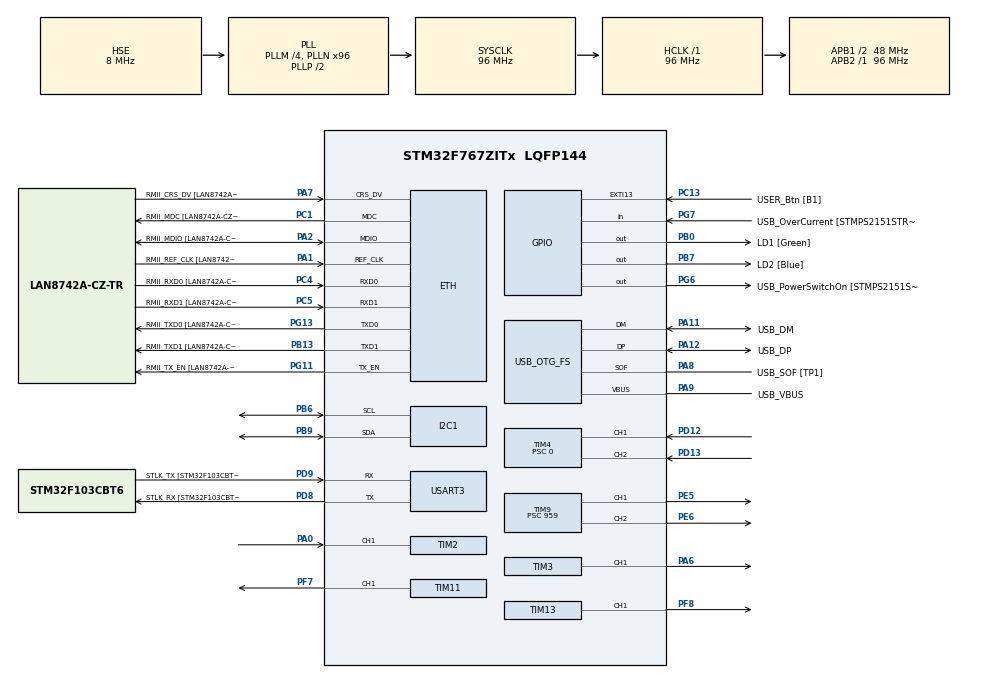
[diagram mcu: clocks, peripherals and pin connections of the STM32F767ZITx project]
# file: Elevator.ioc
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ARM.CMSIS.5.7.0.CMSISJjCORE=true
ARM.CMSIS.5.7.0.CMSISJjDSP=Library
Dma.Request0=USART3_TX
Dma.USART3_TX.0.Direction=DMA_MEMORY_TO_PERIPH
Dma.USART3_TX.0.FIFOMode=DMA_FIFOMODE_DISABLE
Dma.USART3_TX.0.Instance=DMA1_Stream3
Dma.USART3_TX.0.MemDataAlignment=DMA_MDATAALIGN_BYTE
Dma.USART3_TX.0.MemInc=DMA_MINC_ENABLE
Dma.USART3_TX.0.Mode=DMA_NORMAL
Dma.USART3_TX.0.PeriphDataAlignment=DMA_PDATAALIGN_BYTE
Dma.USART3_TX.0.PeriphInc=DMA_PINC_DISABLE
Dma.USART3_TX.0.Priority=DMA_PRIORITY_LOW
ETH.MediaInterface=HAL_ETH_RMII_MODE
ETH.PHY_Name=LAN8742A_PHY_ADDRESS
ETH.PHY_Value=0
ETH.PhyAddress=0
FREERTOS.Tasks01=ControlTask,40,512,StartControlTask,Default,NULL,Dynamic,NULL,NULL;DisplayTask,24,512,StartDisplayTask,Default,NULL,Dynamic,NULL,NULL;UARTTask,8,512,StartUARTTask,Default,NULL,Dynamic,NULL,NULL
FREERTOS.configCHECK_FOR_STACK_OVERFLOW=2
FREERTOS.configTOTAL_HEAP_SIZE=32768
I2C1.Timing=0x20303E5D
Mcu.Family=STM32F7
Mcu.Name=STM32F767ZITx
Mcu.Package=LQFP144
NVIC.DMA1_Stream3_IRQn=true\:5\:0\:false\:false\:true\:true\:false\:true\:true
NVIC.PriorityGroup=NVIC_PRIORITYGROUP_4
NVIC.TIM2_IRQn=true\:5\:0\:false\:false\:true\:true\:true\:true\:true
NVIC.TIM3_IRQn=true\:5\:0\:false\:false\:true\:true\:true\:true\:true
NVIC.TIM6_DAC_IRQn=true\:15\:0\:false\:false\:true\:false\:false\:true\:true
NVIC.TimeBase=TIM6_DAC_IRQn
NVIC.TimeBaseIP=TIM6
NVIC.USART3_IRQn=true\:5\:0\:false\:false\:true\:true\:true\:true\:true
PA0/WKUP.Signal=S_TIM2_CH1_ETR
PA1.GPIO_Label=RMII_REF_CLK [LAN8742A-CZ-TR_REFCLK0]
PA1.Mode=RMII
PA1.Signal=ETH_REF_CLK
PA10.GPIO_Label=USB_ID
PA10.Signal=USB_OTG_FS_ID
PA11.GPIO_Label=USB_DM
PA11.Mode=Device_Only
PA11.Signal=USB_OTG_FS_DM
PA12.GPIO_Label=USB_DP
PA12.Mode=Device_Only
PA12.Signal=USB_OTG_FS_DP
PA13.GPIO_Label=TMS
PA13.Mode=Serial_Wire
PA13.Signal=SYS_JTMS-SWDIO
PA14.GPIO_Label=TCK
PA14.Mode=Serial_Wire
PA14.Signal=SYS_JTCK-SWCLK
PA2.GPIO_Label=RMII_MDIO [LAN8742A-CZ-TR_MDIO]
PA2.Mode=RMII
PA2.Signal=ETH_MDIO
PA6.Signal=S_TIM3_CH1
PA7.GPIO_Label=RMII_CRS_DV [LAN8742A-CZ-TR_CRS_DV]
PA7.Mode=RMII
PA7.Signal=ETH_CRS_DV
PA8.GPIO_Label=USB_SOF [TP1]
PA8.Mode=Activate_SOF_FS
PA8.Signal=USB_OTG_FS_SOF
PA9.GPIO_Label=USB_VBUS
PA9.Mode=Activate_VBUS
PA9.Signal=USB_OTG_FS_VBUS
PB0.GPIO_Label=LD1 [Green]
PB0.Signal=GPIO_Output
PB13.GPIO_Label=RMII_TXD1 [LAN8742A-CZ-TR_TXD1]
PB13.Mode=RMII
PB13.Signal=ETH_TXD1
PB3.GPIO_Label=SWO
PB3.Signal=SYS_JTDO-SWO
PB6.Mode=I2C
PB6.Signal=I2C1_SCL
PB7.GPIO_Label=LD2 [Blue]
PB7.Signal=GPIO_Output
PB9.Mode=I2C
PB9.Signal=I2C1_SDA
PC1.GPIO_Label=RMII_MDC [LAN8742A-CZ-TR_MDC]
PC1.Mode=RMII
PC1.Signal=ETH_MDC
PC13.GPIO_Label=USER_Btn [B1]
PC13.Signal=GPXTI13
PC14/OSC32_IN.Mode=LSE-External-Oscillator
PC14/OSC32_IN.Signal=RCC_OSC32_IN
PC15/OSC32_OUT.Mode=LSE-External-Oscillator
PC15/OSC32_OUT.Signal=RCC_OSC32_OUT
PC4.GPIO_Label=RMII_RXD0 [LAN8742A-CZ-TR_RXD0]
PC4.Mode=RMII
PC4.Signal=ETH_RXD0
PC5.GPIO_Label=RMII_RXD1 [LAN8742A-CZ-TR_RXD1]
PC5.Mode=RMII
PC5.Signal=ETH_RXD1
PD12.GPIO_PuPd=GPIO_PULLUP
PD12.Signal=S_TIM4_CH1
PD13.GPIO_PuPd=GPIO_PULLUP
PD13.Signal=S_TIM4_CH2
PD8.GPIO_Label=STLK_RX [STM32F103CBT6_PA3]
PD8.Mode=Asynchronous
PD8.Signal=USART3_TX
PD9.GPIO_Label=STLK_TX [STM32F103CBT6_PA2]
PD9.Mode=Asynchronous
PD9.Signal=USART3_RX
PE5.Signal=S_TIM9_CH1
PE6.Signal=S_TIM9_CH2
PF7.Signal=S_TIM11_CH1
PF8.Signal=S_TIM13_CH1
PG11.GPIO_Label=RMII_TX_EN [LAN8742A-CZ-TR_TXEN]
PG11.Mode=RMII
PG11.Signal=ETH_TX_EN
PG13.GPIO_Label=RMII_TXD0 [LAN8742A-CZ-TR_TXD0]
PG13.Mode=RMII
PG13.Signal=ETH_TXD0
PG6.GPIO_Label=USB_PowerSwitchOn [STMPS2151STR_EN]
PG6.Signal=GPIO_Output
PG7.GPIO_Label=USB_OverCurrent [STMPS2151STR_FAULT]
PG7.Signal=GPIO_Input
PH0/OSC_IN.GPIO_Label=MCO [STM32F103CBT6_PA8]
PH0/OSC_IN.Mode=HSE-External-Clock-Source
PH0/OSC_IN.Signal=RCC_OSC_IN
PH1/OSC_OUT.Mode=HSE-External-Clock-Source
PH1/OSC_OUT.Signal=RCC_OSC_OUT
ProjectManager.HeapSize=0x200
ProjectManager.StackSize=0x400
ProjectManager.TargetToolchain=STM32CubeIDE
RCC.48MHZClocksFreq_Value=24000000
RCC.AHBFreq_Value=96000000
RCC.APB1CLKDivider=RCC_HCLK_DIV2
RCC.APB1Freq_Value=48000000
RCC.APB1TimFreq_Value=96000000
RCC.APB2Freq_Value=96000000
RCC.APB2TimFreq_Value=96000000
RCC.CortexFreq_Value=96000000
RCC.HCLKFreq_Value=96000000
RCC.HSE_VALUE=8000000
RCC.HSI_VALUE=16000000
RCC.PLLM=4
RCC.PLLMUL=RCC_PLL_MUL9
RCC.PLLN=96
RCC.PLLQ=4
RCC.PRESCALERUSB=RCC_USBCLKSOURCE_PLL_DIV1_5
RCC.SYSCLKFreq_VALUE=96000000
RCC.SYSCLKSource=RCC_SYSCLKSOURCE_PLLCLK
RCC.SYSCLKSourceVirtual=RCC_SYSCLKSOURCE_PLLCLK
RCC.USBFreq_Value=48000000
RCC.VCOOutputFreq_Value=192000000
SH.S_TIM11_CH1.0=TIM11_CH1,PWM Generation1 CH1
SH.S_TIM13_CH1.0=TIM13_CH1,PWM Generation1 CH1
SH.S_TIM2_CH1_ETR.0=TIM2_CH1,PWM_Input_1
SH.S_TIM3_CH1.0=TIM3_CH1,PWM Generation1 CH1
SH.S_TIM4_CH1.0=TIM4_CH1,Encoder_Interface
SH.S_TIM4_CH2.0=TIM4_CH2,Encoder_Interface
SH.S_TIM9_CH1.0=TIM9_CH1,PWM Generation1 CH1
SH.S_TIM9_CH2.0=TIM9_CH2,PWM Generation2 CH2
TIM11.Channel=TIM_CHANNEL_1
TIM11.Period=999
TIM11.Prescaler=959
TIM13.Channel=TIM_CHANNEL_1
TIM13.Period=999
TIM13.Prescaler=959
TIM2.Prescaler=95
TIM3.Channel-PWM\ Generation1\ CH1=TIM_CHANNEL_1
TIM3.Period=249
TIM3.Prescaler=9599
TIM3.Pulse-PWM\ Generation1\ CH1=10
TIM4.EncoderMode=TIM_ENCODERMODE_TI12
TIM4.IC1Filter=15
TIM4.IC2Filter=15
TIM4.Period=65535
TIM4.Prescaler=0
TIM9.Channel-PWM\ Generation1\ CH1=TIM_CHANNEL_1
TIM9.Channel-PWM\ Generation2\ CH2=TIM_CHANNEL_2
TIM9.Period=999
TIM9.Prescaler=959
USART3.VirtualMode-Asynchronous=VM_ASYNC
USB_OTG_FS.VirtualMode=Device_Only
VP_ARM.CMSIS_VS_CMSISJjCORE_5.4.0_5.7.0.Mode=CMSISJjCORE
VP_ARM.CMSIS_VS_CMSISJjDSP_1.8.0_5.7.0.Mode=CMSISJjDSP
VP_FREERTOS_VS_CMSIS_V2.Mode=CMSIS_V2
VP_SYS_VS_tim6.Mode=TIM6
VP_TIM11_VS_ClockSourceINT.Mode=Enable_Timer
VP_TIM13_VS_ClockSourceINT.Mode=Enable_Timer
VP_TIM2_VS_ClockSourceINT.Mode=Internal
VP_TIM3_VS_ClockSourceINT.Mode=Internal
board=NUCLEO-F767ZI

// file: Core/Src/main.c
/* USER CODE BEGIN Header */
/**
  ******************************************************************************
  * @file           : main.c
  * @brief          : Main program body
  ******************************************************************************
  * @attention
  *
  * Copyright (c) 2026 STMicroelectronics.
  * All rights reserved.
  *
  * This software is licensed under terms that can be found in the LICENSE file
  * in the root directory of this software component.
  * If no LICENSE file comes with this software, it is provided AS-IS.
  *
  ******************************************************************************
  */
/* USER CODE END Header */
#include "main.h"
#include "string.h"
#include "cmsis_os.h"

/* USER CODE BEGIN Includes */
#include <stdio.h>
#include <string.h>
#include <stdbool.h>

#include "arm_math.h"

#include "crc.h"
#include "filtr.h"
#include "regulator.h"
#include "lcd_i2c.h"
#include "encoder.h"
#include "hcsr04.h"
#include "wlasny_PID.h"
/* USER CODE END Includes */

/* USER CODE BEGIN PTD */
typedef struct {
    float dist_filtered;  // Zmienna z 'filtr'
    float dist_raw;       // Zmienna z 'sensor'
    int target_h;         // Zmienna z 'encoder'
    int pwm_up;           // Zmienna z 'liftPID'
    int pwm_down;         // Zmienna z 'liftPID'
} ElevatorData_t;
/* USER CODE END PTD */

#if defined ( __ICCARM__ ) /*!< IAR Compiler */
#pragma location=0x2007c000
ETH_DMADescTypeDef  DMARxDscrTab[ETH_RX_DESC_CNT]; /* Ethernet Rx DMA Descriptors */
#pragma location=0x2007c0a0
ETH_DMADescTypeDef  DMATxDscrTab[ETH_TX_DESC_CNT]; /* Ethernet Tx DMA Descriptors */

#elif defined ( __CC_ARM )  /* MDK ARM Compiler */

__attribute__((at(0x2007c000))) ETH_DMADescTypeDef  DMARxDscrTab[ETH_RX_DESC_CNT]; /* Ethernet Rx DMA Descriptors */
__attribute__((at(0x2007c0a0))) ETH_DMADescTypeDef  DMATxDscrTab[ETH_TX_DESC_CNT]; /* Ethernet Tx DMA Descriptors */

#elif defined ( __GNUC__ ) /* GNU Compiler */

ETH_DMADescTypeDef DMARxDscrTab[ETH_RX_DESC_CNT] __attribute__((section(".RxDecripSection"))); /* Ethernet Rx DMA Descriptors */
ETH_DMADescTypeDef DMATxDscrTab[ETH_TX_DESC_CNT] __attribute__((section(".TxDecripSection")));   /* Ethernet Tx DMA Descriptors */
#endif

ETH_TxPacketConfig TxConfig;

ETH_HandleTypeDef heth;

I2C_HandleTypeDef hi2c1;

TIM_HandleTypeDef htim2;
TIM_HandleTypeDef htim3;
TIM_HandleTypeDef htim4;
TIM_HandleTypeDef htim9;
TIM_HandleTypeDef htim11;
TIM_HandleTypeDef htim13;

UART_HandleTypeDef huart3;
DMA_HandleTypeDef hdma_usart3_tx;

PCD_HandleTypeDef hpcd_USB_OTG_FS;

/* Definitions for ControlTask */
osThreadId_t ControlTaskHandle;
const osThreadAttr_t ControlTask_attributes = {
  .name = "ControlTask",
  .stack_size = 512 * 4,
  .priority = (osPriority_t) osPriorityHigh,
};
/* Definitions for DisplayTask */
osThreadId_t DisplayTaskHandle;
const osThreadAttr_t DisplayTask_attributes = {
  .name = "DisplayTask",
  .stack_size = 512 * 4,
  .priority = (osPriority_t) osPriorityNormal,
};
/* Definitions for UARTTask */
osThreadId_t UARTTaskHandle;
const osThreadAttr_t UARTTask_attributes = {
  .name = "UARTTask",
  .stack_size = 512 * 4,
  .priority = (osPriority_t) osPriorityLow,
};
/* USER CODE BEGIN PV */
HCSR04_t sensor;
Encoder_t encoder;
DistanceFilter_t filtr;
PID_Controller liftPID;
LCD_t lcd;

float32_t current_pwm = 0.0f;
extern I2C_HandleTypeDef hi2c1;

osSemaphoreId_t UartTxSemaphoreHandle;
osMessageQueueId_t elevatorQueueHandle;

/* USER CODE END PV */

void SystemClock_Config(void);
static void MX_GPIO_Init(void);
static void MX_DMA_Init(void);
static void MX_ETH_Init(void);
static void MX_USART3_UART_Init(void);
static void MX_USB_OTG_FS_PCD_Init(void);
static void MX_TIM2_Init(void);
static void MX_TIM3_Init(void);
static void MX_TIM4_Init(void);
static void MX_TIM9_Init(void);
static void MX_I2C1_Init(void);
static void MX_TIM11_Init(void);
static void MX_TIM13_Init(void);
void StartControlTask(void *argument);
void StartDisplayTask(void *argument);
void StartUARTTask(void *argument);

/* USER CODE BEGIN 0 */
void HAL_TIM_IC_CaptureCallback(TIM_HandleTypeDef *htim) {
    HCSR04_ProcessISR(&sensor, htim);
}

void HAL_UART_RxCpltCallback(UART_HandleTypeDef *huart)
{
    CMD_RxCpltCallback(huart);
}
/* USER CODE END 0 */

int main(void)
{

  /* MCU Configuration--------------------------------------------------------*/

  /* Reset of all peripherals, Initializes the Flash interface and the Systick. */
  HAL_Init();

  /* Configure the system clock */
  SystemClock_Config();

  /* Initialize all configured peripherals */
  MX_GPIO_Init();
  MX_DMA_Init();
  MX_ETH_Init();
  MX_USART3_UART_Init();
  MX_USB_OTG_FS_PCD_Init();
  MX_TIM2_Init();
  MX_TIM3_Init();
  MX_TIM4_Init();
  MX_TIM9_Init();
  MX_I2C1_Init();
  MX_TIM11_Init();
  MX_TIM13_Init();
  /* USER CODE BEGIN 2 */
  CMD_Init(&huart3);

  HCSR04_Init(&sensor, &htim2, &htim3);
  int timeout = 0;
  while (sensor.distance <= 0.1f && timeout < 20) {
      HAL_Delay(50);
      timeout++;
  }
  int32_t start_pos = (int32_t)sensor.distance;
  if (start_pos < 5) start_pos = 5;

  Encoder_Init(&encoder, &htim4, 5, 40, start_pos);

  LCD_Init(&lcd, &hi2c1, 16, 2);
  DistanceFilter_Init(&filtr);
  Lift_PID_Init(&liftPID);

  HAL_TIM_Base_Start_IT(&htim3);
  HAL_TIM_PWM_Start(&htim11, TIM_CHANNEL_1);
  HAL_TIM_PWM_Start(&htim13, TIM_CHANNEL_1);

  /* USER CODE END 2 */

  /* Init scheduler */
  osKernelInitialize();

  /* USER CODE BEGIN RTOS_SEMAPHORES */
  UartTxSemaphoreHandle = osSemaphoreNew(1, 0, NULL);

  /* USER CODE END RTOS_SEMAPHORES */

  /* USER CODE BEGIN RTOS_QUEUES */
  elevatorQueueHandle = osMessageQueueNew(10, sizeof(ElevatorData_t), NULL);
  /* USER CODE END RTOS_QUEUES */

  /* Create the thread(s) */
  /* creation of ControlTask */
  ControlTaskHandle = osThreadNew(StartControlTask, NULL, &ControlTask_attributes);

  /* creation of DisplayTask */
  DisplayTaskHandle = osThreadNew(StartDisplayTask, NULL, &DisplayTask_attributes);

  /* creation of UARTTask */
  UARTTaskHandle = osThreadNew(StartUARTTask, NULL, &UARTTask_attributes);

  /* Start scheduler */
  osKernelStart();

  /* We should never get here as control is now taken by the scheduler */

  /* Infinite loop */
  while (1)
  {

  }
}

void SystemClock_Config(void)
{
  RCC_OscInitTypeDef RCC_OscInitStruct = {0};
  RCC_ClkInitTypeDef RCC_ClkInitStruct = {0};

  /** Configure LSE Drive Capability
  */
  HAL_PWR_EnableBkUpAccess();

  /** Configure the main internal regulator output voltage
  */
  __HAL_RCC_PWR_CLK_ENABLE();
  __HAL_PWR_VOLTAGESCALING_CONFIG(PWR_REGULATOR_VOLTAGE_SCALE3);

  /** Initializes the RCC Oscillators according to the specified parameters
  * in the RCC_OscInitTypeDef structure.
  */
  RCC_OscInitStruct.OscillatorType = RCC_OSCILLATORTYPE_HSE;
  RCC_OscInitStruct.HSEState = RCC_HSE_BYPASS;
  RCC_OscInitStruct.PLL.PLLState = RCC_PLL_ON;
  RCC_OscInitStruct.PLL.PLLSource = RCC_PLLSOURCE_HSE;
  RCC_OscInitStruct.PLL.PLLM = 4;
  RCC_OscInitStruct.PLL.PLLN = 96;
  RCC_OscInitStruct.PLL.PLLP = RCC_PLLP_DIV2;
  RCC_OscInitStruct.PLL.PLLQ = 4;
  RCC_OscInitStruct.PLL.PLLR = 2;
  if (HAL_RCC_OscConfig(&RCC_OscInitStruct) != HAL_OK)
  {
    Error_Handler();
  }

  /** Activate the Over-Drive mode
  */
  if (HAL_PWREx_EnableOverDrive() != HAL_OK)
  {
    Error_Handler();
  }

  /** Initializes the CPU, AHB and APB buses clocks
  */
  RCC_ClkInitStruct.ClockType = RCC_CLOCKTYPE_HCLK|RCC_CLOCKTYPE_SYSCLK
                              |RCC_CLOCKTYPE_PCLK1|RCC_CLOCKTYPE_PCLK2;
  RCC_ClkInitStruct.SYSCLKSource = RCC_SYSCLKSOURCE_PLLCLK;
  RCC_ClkInitStruct.AHBCLKDivider = RCC_SYSCLK_DIV1;
  RCC_ClkInitStruct.APB1CLKDivider = RCC_HCLK_DIV2;
  RCC_ClkInitStruct.APB2CLKDivider = RCC_HCLK_DIV1;

  if (HAL_RCC_ClockConfig(&RCC_ClkInitStruct, FLASH_LATENCY_3) != HAL_OK)
  {
    Error_Handler();
  }
}

static void MX_ETH_Init(void)
{

   static uint8_t MACAddr[6];

  heth.Instance = ETH;
  MACAddr[0] = 0x00;
  MACAddr[1] = 0x80;
  MACAddr[2] = 0xE1;
  MACAddr[3] = 0x00;
  MACAddr[4] = 0x00;
  MACAddr[5] = 0x00;
  heth.Init.MACAddr = &MACAddr[0];
  heth.Init.MediaInterface = HAL_ETH_RMII_MODE;
  heth.Init.TxDesc = DMATxDscrTab;
  heth.Init.RxDesc = DMARxDscrTab;
  heth.Init.RxBuffLen = 1524;

  if (HAL_ETH_Init(&heth) != HAL_OK)
  {
    Error_Handler();
  }

  memset(&TxConfig, 0 , sizeof(ETH_TxPacketConfig));
  TxConfig.Attributes = ETH_TX_PACKETS_FEATURES_CSUM | ETH_TX_PACKETS_FEATURES_CRCPAD;
  TxConfig.ChecksumCtrl = ETH_CHECKSUM_IPHDR_PAYLOAD_INSERT_PHDR_CALC;
  TxConfig.CRCPadCtrl = ETH_CRC_PAD_INSERT;

}

static void MX_I2C1_Init(void)
{

  hi2c1.Instance = I2C1;
  hi2c1.Init.Timing = 0x20303E5D;
  hi2c1.Init.OwnAddress1 = 0;
  hi2c1.Init.AddressingMode = I2C_ADDRESSINGMODE_7BIT;
  hi2c1.Init.DualAddressMode = I2C_DUALADDRESS_DISABLE;
  hi2c1.Init.OwnAddress2 = 0;
  hi2c1.Init.OwnAddress2Masks = I2C_OA2_NOMASK;
  hi2c1.Init.GeneralCallMode = I2C_GENERALCALL_DISABLE;
  hi2c1.Init.NoStretchMode = I2C_NOSTRETCH_DISABLE;
  if (HAL_I2C_Init(&hi2c1) != HAL_OK)
  {
    Error_Handler();
  }

  /** Configure Analogue filter
  */
  if (HAL_I2CEx_ConfigAnalogFilter(&hi2c1, I2C_ANALOGFILTER_ENABLE) != HAL_OK)
  {
    Error_Handler();
  }

  /** Configure Digital filter
  */
  if (HAL_I2CEx_ConfigDigitalFilter(&hi2c1, 0) != HAL_OK)
  {
    Error_Handler();
  }

}

static void MX_TIM2_Init(void)
{

  TIM_ClockConfigTypeDef sClockSourceConfig = {0};
  TIM_SlaveConfigTypeDef sSlaveConfig = {0};
  TIM_IC_InitTypeDef sConfigIC = {0};
  TIM_MasterConfigTypeDef sMasterConfig = {0};

  htim2.Instance = TIM2;
  htim2.Init.Prescaler = 95;
  htim2.Init.CounterMode = TIM_COUNTERMODE_UP;
  htim2.Init.Period = 4294967295;
  htim2.Init.ClockDivision = TIM_CLOCKDIVISION_DIV1;
  htim2.Init.AutoReloadPreload = TIM_AUTORELOAD_PRELOAD_DISABLE;
  if (HAL_TIM_Base_Init(&htim2) != HAL_OK)
  {
    Error_Handler();
  }
  sClockSourceConfig.ClockSource = TIM_CLOCKSOURCE_INTERNAL;
  if (HAL_TIM_ConfigClockSource(&htim2, &sClockSourceConfig) != HAL_OK)
  {
    Error_Handler();
  }
  if (HAL_TIM_IC_Init(&htim2) != HAL_OK)
  {
    Error_Handler();
  }
  sSlaveConfig.SlaveMode = TIM_SLAVEMODE_RESET;
  sSlaveConfig.InputTrigger = TIM_TS_TI1FP1;
  sSlaveConfig.TriggerPolarity = TIM_INPUTCHANNELPOLARITY_RISING;
  sSlaveConfig.TriggerPrescaler = TIM_ICPSC_DIV1;
  sSlaveConfig.TriggerFilter = 0;
  if (HAL_TIM_SlaveConfigSynchro(&htim2, &sSlaveConfig) != HAL_OK)
  {
    Error_Handler();
  }
  sConfigIC.ICPolarity = TIM_INPUTCHANNELPOLARITY_RISING;
  sConfigIC.ICSelection = TIM_ICSELECTION_DIRECTTI;
  sConfigIC.ICPrescaler = TIM_ICPSC_DIV1;
  sConfigIC.ICFilter = 0;
  if (HAL_TIM_IC_ConfigChannel(&htim2, &sConfigIC, TIM_CHANNEL_1) != HAL_OK)
  {
    Error_Handler();
  }
  sConfigIC.ICPolarity = TIM_INPUTCHANNELPOLARITY_FALLING;
  sConfigIC.ICSelection = TIM_ICSELECTION_INDIRECTTI;
  if (HAL_TIM_IC_ConfigChannel(&htim2, &sConfigIC, TIM_CHANNEL_2) != HAL_OK)
  {
    Error_Handler();
  }
  sMasterConfig.MasterOutputTrigger = TIM_TRGO_RESET;
  sMasterConfig.MasterSlaveMode = TIM_MASTERSLAVEMODE_DISABLE;
  if (HAL_TIMEx_MasterConfigSynchronization(&htim2, &sMasterConfig) != HAL_OK)
  {
    Error_Handler();
  }

}

static void MX_TIM3_Init(void)
{

  TIM_ClockConfigTypeDef sClockSourceConfig = {0};
  TIM_MasterConfigTypeDef sMasterConfig = {0};
  TIM_OC_InitTypeDef sConfigOC = {0};

  htim3.Instance = TIM3;
  htim3.Init.Prescaler = 9599;
  htim3.Init.CounterMode = TIM_COUNTERMODE_UP;
  htim3.Init.Period = 249;
  htim3.Init.ClockDivision = TIM_CLOCKDIVISION_DIV1;
  htim3.Init.AutoReloadPreload = TIM_AUTORELOAD_PRELOAD_DISABLE;
  if (HAL_TIM_Base_Init(&htim3) != HAL_OK)
  {
    Error_Handler();
  }
  sClockSourceConfig.ClockSource = TIM_CLOCKSOURCE_INTERNAL;
  if (HAL_TIM_ConfigClockSource(&htim3, &sClockSourceConfig) != HAL_OK)
  {
    Error_Handler();
  }
  if (HAL_TIM_PWM_Init(&htim3) != HAL_OK)
  {
    Error_Handler();
  }
  sMasterConfig.MasterOutputTrigger = TIM_TRGO_RESET;
  sMasterConfig.MasterSlaveMode = TIM_MASTERSLAVEMODE_DISABLE;
  if (HAL_TIMEx_MasterConfigSynchronization(&htim3, &sMasterConfig) != HAL_OK)
  {
    Error_Handler();
  }
  sConfigOC.OCMode = TIM_OCMODE_PWM1;
  sConfigOC.Pulse = 10;
  sConfigOC.OCPolarity = TIM_OCPOLARITY_HIGH;
  sConfigOC.OCFastMode = TIM_OCFAST_DISABLE;
  if (HAL_TIM_PWM_ConfigChannel(&htim3, &sConfigOC, TIM_CHANNEL_1) != HAL_OK)
  {
    Error_Handler();
  }
  HAL_TIM_MspPostInit(&htim3);

}

static void MX_TIM4_Init(void)
{

  TIM_Encoder_InitTypeDef sConfig = {0};
  TIM_MasterConfigTypeDef sMasterConfig = {0};

  htim4.Instance = TIM4;
  htim4.Init.Prescaler = 0;
  htim4.Init.CounterMode = TIM_COUNTERMODE_UP;
  htim4.Init.Period = 65535;
  htim4.Init.ClockDivision = TIM_CLOCKDIVISION_DIV1;
  htim4.Init.AutoReloadPreload = TIM_AUTORELOAD_PRELOAD_DISABLE;
  sConfig.EncoderMode = TIM_ENCODERMODE_TI12;
  sConfig.IC1Polarity = TIM_ICPOLARITY_RISING;
  sConfig.IC1Selection = TIM_ICSELECTION_DIRECTTI;
  sConfig.IC1Prescaler = TIM_ICPSC_DIV1;
  sConfig.IC1Filter = 15;
  sConfig.IC2Polarity = TIM_ICPOLARITY_RISING;
  sConfig.IC2Selection = TIM_ICSELECTION_DIRECTTI;
  sConfig.IC2Prescaler = TIM_ICPSC_DIV1;
  sConfig.IC2Filter = 15;
  if (HAL_TIM_Encoder_Init(&htim4, &sConfig) != HAL_OK)
  {
    Error_Handler();
  }
  sMasterConfig.MasterOutputTrigger = TIM_TRGO_RESET;
  sMasterConfig.MasterSlaveMode = TIM_MASTERSLAVEMODE_DISABLE;
  if (HAL_TIMEx_MasterConfigSynchronization(&htim4, &sMasterConfig) != HAL_OK)
  {
    Error_Handler();
  }

}

static void MX_TIM9_Init(void)
{

  TIM_OC_InitTypeDef sConfigOC = {0};

  htim9.Instance = TIM9;
  htim9.Init.Prescaler = 959;
  htim9.Init.CounterMode = TIM_COUNTERMODE_UP;
  htim9.Init.Period = 999;
  htim9.Init.ClockDivision = TIM_CLOCKDIVISION_DIV1;
  htim9.Init.AutoReloadPreload = TIM_AUTORELOAD_PRELOAD_DISABLE;
  if (HAL_TIM_PWM_Init(&htim9) != HAL_OK)
  {
    Error_Handler();
  }
  sConfigOC.OCMode = TIM_OCMODE_PWM1;
  sConfigOC.Pulse = 0;
  sConfigOC.OCPolarity = TIM_OCPOLARITY_HIGH;
  sConfigOC.OCFastMode = TIM_OCFAST_DISABLE;
  if (HAL_TIM_PWM_ConfigChannel(&htim9, &sConfigOC, TIM_CHANNEL_1) != HAL_OK)
  {
    Error_Handler();
  }
  if (HAL_TIM_PWM_ConfigChannel(&htim9, &sConfigOC, TIM_CHANNEL_2) != HAL_OK)
  {
    Error_Handler();
  }
  HAL_TIM_MspPostInit(&htim9);

}

static void MX_TIM11_Init(void)
{

  TIM_OC_InitTypeDef sConfigOC = {0};

  htim11.Instance = TIM11;
  htim11.Init.Prescaler = 959;
  htim11.Init.CounterMode = TIM_COUNTERMODE_UP;
  htim11.Init.Period = 999;
  htim11.Init.ClockDivision = TIM_CLOCKDIVISION_DIV1;
  htim11.Init.AutoReloadPreload = TIM_AUTORELOAD_PRELOAD_DISABLE;
  if (HAL_TIM_Base_Init(&htim11) != HAL_OK)
  {
    Error_Handler();
  }
  if (HAL_TIM_PWM_Init(&htim11) != HAL_OK)
  {
    Error_Handler();
  }
  sConfigOC.OCMode = TIM_OCMODE_PWM1;
  sConfigOC.Pulse = 0;
  sConfigOC.OCPolarity = TIM_OCPOLARITY_HIGH;
  sConfigOC.OCFastMode = TIM_OCFAST_DISABLE;
  if (HAL_TIM_PWM_ConfigChannel(&htim11, &sConfigOC, TIM_CHANNEL_1) != HAL_OK)
  {
    Error_Handler();
  }
  HAL_TIM_MspPostInit(&htim11);

}

static void MX_TIM13_Init(void)
{

  TIM_OC_InitTypeDef sConfigOC = {0};

  htim13.Instance = TIM13;
  htim13.Init.Prescaler = 959;
  htim13.Init.CounterMode = TIM_COUNTERMODE_UP;
  htim13.Init.Period = 999;
  htim13.Init.ClockDivision = TIM_CLOCKDIVISION_DIV1;
  htim13.Init.AutoReloadPreload = TIM_AUTORELOAD_PRELOAD_DISABLE;
  if (HAL_TIM_Base_Init(&htim13) != HAL_OK)
  {
    Error_Handler();
  }
  if (HAL_TIM_PWM_Init(&htim13) != HAL_OK)
  {
    Error_Handler();
  }
  sConfigOC.OCMode = TIM_OCMODE_PWM1;
  sConfigOC.Pulse = 0;
  sConfigOC.OCPolarity = TIM_OCPOLARITY_HIGH;
  sConfigOC.OCFastMode = TIM_OCFAST_DISABLE;
  if (HAL_TIM_PWM_ConfigChannel(&htim13, &sConfigOC, TIM_CHANNEL_1) != HAL_OK)
  {
    Error_Handler();
  }
  HAL_TIM_MspPostInit(&htim13);

}

static void MX_USART3_UART_Init(void)
{

  huart3.Instance = USART3;
  huart3.Init.BaudRate = 115200;
  huart3.Init.WordLength = UART_WORDLENGTH_8B;
  huart3.Init.StopBits = UART_STOPBITS_1;
  huart3.Init.Parity = UART_PARITY_NONE;
  huart3.Init.Mode = UART_MODE_TX_RX;
  huart3.Init.HwFlowCtl = UART_HWCONTROL_NONE;
  huart3.Init.OverSampling = UART_OVERSAMPLING_16;
  huart3.Init.OneBitSampling = UART_ONE_BIT_SAMPLE_DISABLE;
  huart3.AdvancedInit.AdvFeatureInit = UART_ADVFEATURE_NO_INIT;
  if (HAL_UART_Init(&huart3) != HAL_OK)
  {
    Error_Handler();
  }

}

static void MX_USB_OTG_FS_PCD_Init(void)
{

  hpcd_USB_OTG_FS.Instance = USB_OTG_FS;
  hpcd_USB_OTG_FS.Init.dev_endpoints = 6;
  hpcd_USB_OTG_FS.Init.speed = PCD_SPEED_FULL;
  hpcd_USB_OTG_FS.Init.dma_enable = DISABLE;
  hpcd_USB_OTG_FS.Init.phy_itface = PCD_PHY_EMBEDDED;
  hpcd_USB_OTG_FS.Init.Sof_enable = ENABLE;
  hpcd_USB_OTG_FS.Init.low_power_enable = DISABLE;
  hpcd_USB_OTG_FS.Init.lpm_enable = DISABLE;
  hpcd_USB_OTG_FS.Init.vbus_sensing_enable = ENABLE;
  hpcd_USB_OTG_FS.Init.use_dedicated_ep1 = DISABLE;
  if (HAL_PCD_Init(&hpcd_USB_OTG_FS) != HAL_OK)
  {
    Error_Handler();
  }

}

static void MX_DMA_Init(void)
{

  /* DMA controller clock enable */
  __HAL_RCC_DMA1_CLK_ENABLE();

  /* DMA interrupt init */
  /* DMA1_Stream3_IRQn interrupt configuration */
  HAL_NVIC_SetPriority(DMA1_Stream3_IRQn, 5, 0);
  HAL_NVIC_EnableIRQ(DMA1_Stream3_IRQn);

}

static void MX_GPIO_Init(void)
{
  GPIO_InitTypeDef GPIO_InitStruct = {0};

  /* GPIO Ports Clock Enable */
  __HAL_RCC_GPIOE_CLK_ENABLE();
  __HAL_RCC_GPIOC_CLK_ENABLE();
  __HAL_RCC_GPIOF_CLK_ENABLE();
  __HAL_RCC_GPIOH_CLK_ENABLE();
  __HAL_RCC_GPIOA_CLK_ENABLE();
  __HAL_RCC_GPIOB_CLK_ENABLE();
  __HAL_RCC_GPIOD_CLK_ENABLE();
  __HAL_RCC_GPIOG_CLK_ENABLE();

  /*Configure GPIO pin Output Level */
  HAL_GPIO_WritePin(GPIOB, LD1_Pin|LD2_Pin, GPIO_PIN_RESET);

  /*Configure GPIO pin Output Level */
  HAL_GPIO_WritePin(USB_PowerSwitchOn_GPIO_Port, USB_PowerSwitchOn_Pin, GPIO_PIN_RESET);

  /*Configure GPIO pin : USER_Btn_Pin */
  GPIO_InitStruct.Pin = USER_Btn_Pin;
  GPIO_InitStruct.Mode = GPIO_MODE_IT_RISING;
  GPIO_InitStruct.Pull = GPIO_NOPULL;
  HAL_GPIO_Init(USER_Btn_GPIO_Port, &GPIO_InitStruct);

  /*Configure GPIO pins : LD1_Pin LD2_Pin */
  GPIO_InitStruct.Pin = LD1_Pin|LD2_Pin;
  GPIO_InitStruct.Mode = GPIO_MODE_OUTPUT_PP;
  GPIO_InitStruct.Pull = GPIO_NOPULL;
  GPIO_InitStruct.Speed = GPIO_SPEED_FREQ_LOW;
  HAL_GPIO_Init(GPIOB, &GPIO_InitStruct);

  /*Configure GPIO pin : USB_PowerSwitchOn_Pin */
  GPIO_InitStruct.Pin = USB_PowerSwitchOn_Pin;
  GPIO_InitStruct.Mode = GPIO_MODE_OUTPUT_PP;
  GPIO_InitStruct.Pull = GPIO_NOPULL;
  GPIO_InitStruct.Speed = GPIO_SPEED_FREQ_LOW;
  HAL_GPIO_Init(USB_PowerSwitchOn_GPIO_Port, &GPIO_InitStruct);

  /*Configure GPIO pin : USB_OverCurrent_Pin */
  GPIO_InitStruct.Pin = USB_OverCurrent_Pin;
  GPIO_InitStruct.Mode = GPIO_MODE_INPUT;
  GPIO_InitStruct.Pull = GPIO_NOPULL;
  HAL_GPIO_Init(USB_OverCurrent_GPIO_Port, &GPIO_InitStruct);

}

/* USER CODE BEGIN 4 */
void HAL_UART_TxCpltCallback(UART_HandleTypeDef *huart)
{
    if (huart->Instance == USART3)
    {
        osSemaphoreRelease(UartTxSemaphoreHandle);
    }
}
/* USER CODE END 4 */

void StartControlTask(void *argument)
{
  /* USER CODE BEGIN 5 */
	TickType_t xLastWakeTime = xTaskGetTickCount();
	static uint8_t send_counter = 0;
	ElevatorData_t dataSnapshot;
  /* Infinite loop */
  for(;;)
  {
	Encoder_Update(&encoder);
	DistanceFilter_Update(&filtr, sensor.distance);
	CMD_Process();
	Lift_PID_Update_Transparent(&liftPID, encoder.targetHeight, filtr.output);
	__HAL_TIM_SET_COMPARE(&htim13, TIM_CHANNEL_1, liftPID.out_pwm_up);
	__HAL_TIM_SET_COMPARE(&htim11, TIM_CHANNEL_1, liftPID.out_pwm_down);

	send_counter++;
	if (send_counter >= 5){
		send_counter = 0;

		dataSnapshot.dist_filtered = filtr.output;
		taskENTER_CRITICAL();
		dataSnapshot.dist_raw = sensor.distance;
		taskEXIT_CRITICAL();
		dataSnapshot.target_h = encoder.targetHeight;
		dataSnapshot.pwm_up = liftPID.out_pwm_up;
		dataSnapshot.pwm_down = liftPID.out_pwm_down;

		osMessageQueuePut(elevatorQueueHandle, &dataSnapshot, 0, 0);
	}

	vTaskDelayUntil(&xLastWakeTime, pdMS_TO_TICKS(25));
  }
  /* USER CODE END 5 */
}

void StartDisplayTask(void *argument)
{
  /* USER CODE BEGIN StartDisplayTask */
	char lcd_buffer[20];
  /* Infinite loop */
  for(;;)
  {
	LCD_SetCursor(&lcd, 0, 0);
	sprintf(lcd_buffer, "Cel: %.1f cm     ", encoder.targetHeight);
	LCD_Print(&lcd, lcd_buffer);

	LCD_SetCursor(&lcd, 0, 1);
	sprintf(lcd_buffer, "Akt: %.1f cm    ", filtr.output);
	LCD_Print(&lcd, lcd_buffer);

    osDelay(300);
  }
  /* USER CODE END StartDisplayTask */
}

void StartUARTTask(void *argument)
{
  /* USER CODE BEGIN StartUARTTask */
	char msg[128];
	ElevatorData_t receivedData;
	osStatus_t status;
  /* Infinite loop */
  for(;;)
  {
	status = osMessageQueueGet(elevatorQueueHandle, &receivedData, NULL, osWaitForever);

	if (status == osOK) {
		int len = snprintf(msg, sizeof(msg), "$%d,%d,%d,%d,%d;\n",
	                          (int)receivedData.dist_filtered,
	                          (int)receivedData.dist_raw,
	                          (int)receivedData.target_h,
	                          (int)receivedData.pwm_up,
	                          (int)receivedData.pwm_down);

		SCB_CleanDCache_by_Addr((uint32_t*)msg, len);

		if (HAL_UART_Transmit_DMA(&huart3, (uint8_t*)msg, len) == HAL_OK){
			osSemaphoreAcquire(UartTxSemaphoreHandle, osWaitForever);
		}
	}
  }
  /* USER CODE END StartUARTTask */
}

void HAL_TIM_PeriodElapsedCallback(TIM_HandleTypeDef *htim)
{
  if (htim->Instance == TIM6)
  {
    HAL_IncTick();
  }
}

void Error_Handler(void)
{
  __disable_irq();
  while (1)
  {
  }
}

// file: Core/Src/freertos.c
/* USER CODE BEGIN Header */
/**
  ******************************************************************************
  * File Name          : freertos.c
  * Description        : Code for freertos applications
  ******************************************************************************
  * @attention
  *
  * Copyright (c) 2026 STMicroelectronics.
  * All rights reserved.
  *
  * This software is licensed under terms that can be found in the LICENSE file
  * in the root directory of this software component.
  * If no LICENSE file comes with this software, it is provided AS-IS.
  *
  ******************************************************************************
  */
/* USER CODE END Header */

#include "FreeRTOS.h"
#include "task.h"
#include "main.h"

/* USER CODE BEGIN Includes */
#include "stm32f7xx_hal.h"
/* USER CODE END Includes */

/* Hook prototypes */
void vApplicationStackOverflowHook(xTaskHandle xTask, signed char *pcTaskName);

/* USER CODE BEGIN 4 */
void vApplicationStackOverflowHook(TaskHandle_t xTask, signed char *pcTaskName)
{
    // ALARM: Przepełnienie stosu!
    __disable_irq();
    while(1) {
        // Mrugaj czerwoną diodą LD3
        HAL_GPIO_TogglePin(LD1_GPIO_Port, LD1_Pin);
        for(volatile int i=0; i<1000000; i++);
    }
}
/* USER CODE END 4 */
